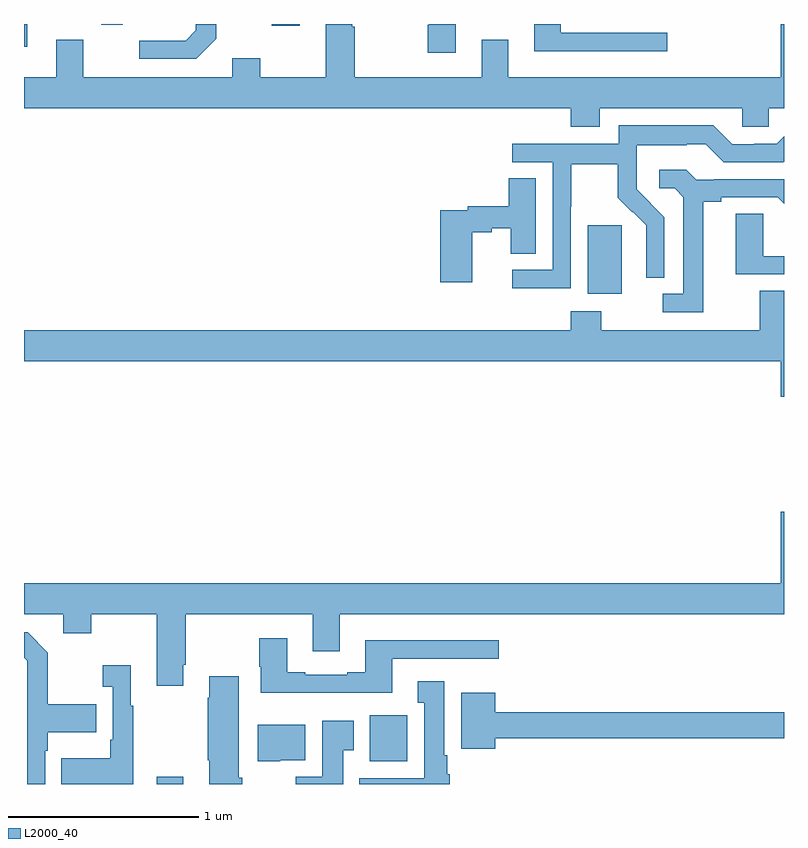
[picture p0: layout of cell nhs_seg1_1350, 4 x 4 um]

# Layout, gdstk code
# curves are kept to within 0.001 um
import gdstk
lib = gdstk.Library(unit=1e-6, precision=1e-09)
def R(c, l, rs):  # rectangles x0, y0, x1, y1
    for r in rs: c.add(gdstk.rectangle(r[:2], r[2:], *l))
def P(c, l, *ps):  # polygons
    for p in ps: c.add(gdstk.Polygon(p, *l))
L2000_40 = (2000, 40)

nhs_seg1_1350 = lib.new_cell('nhs_seg1_1350')
R(nhs_seg1_1350, L2000_40, [(185.699,524.199,185.839,524.236), (186.821,524.318,187.018,524.56), (187.967,526.778,188.146,527.139), (185,528.078,185.017,528.199), (186.303,528.189,186.452,528.199), (185.407,528.196,185.519,528.199)])
P(nhs_seg1_1350, L2000_40, [(187.273,528.199),(187.133,528.199),(187.133,528.195),(187.126,528.195),(187.126,528.048),(187.273,528.048)],
  [(186.013,528.121),(186.013,528.199),(185.904,528.199),(185.904,528.165),(185.85,528.111),(185.607,528.111),(185.607,528.015),(185.907,528.015)],
  [(188.386,528.153),(187.825,528.153),(187.825,528.199),(187.685,528.199),(187.685,528.056),(188.386,528.056)],
  [(188.029,527.756),(188.781,527.756),(188.781,527.658),(188.919,527.658),(188.919,527.756),(189,527.756),(189,528.199),(188.984,528.199),(188.984,527.92),(187.549,527.92),(187.549,528.115),(187.409,528.115),(187.409,527.92),(186.74,527.92),(186.74,528.185),(186.727,528.185),(186.727,528.199),(186.587,528.199),(186.587,527.92),(186.243,527.92),(186.243,528.019),(186.095,528.019),(186.095,527.92),(185.311,527.92),(185.311,528.115),(185.171,528.115),(185.171,527.92),(185,527.92),(185,527.756),(187.877,527.756),(187.877,527.657),(188.029,527.657)],
  [(187.878,527.236),(187.881,527.236),(187.881,527.46),(188.125,527.46),(188.125,527.285),(188.202,527.208),(188.205,527.211),(188.276,527.141),(188.276,527.018),(188.274,527.018),(188.274,526.864),(188.37,526.864),(188.37,527.182),(188.224,527.33),(188.224,527.427),(188.226,527.427),(188.226,527.561),(188.489,527.561),(188.489,527.565),(188.589,527.565),(188.682,527.472),(188.997,527.472),(189,527.475),(189,527.607),(188.961,527.568),(188.843,527.568),(188.843,527.565),(188.727,527.565),(188.627,527.665),(188.13,527.665),(188.13,527.568),(187.569,527.568),(187.569,527.472),(187.782,527.472),(187.782,526.905),(187.569,526.905),(187.569,526.807),(187.878,526.807)],
  [(188.575,527.264),(188.671,527.264),(188.671,527.286),(188.966,527.286),(189,527.252),(189,527.382),(188.632,527.382),(188.632,527.379),(188.538,527.379),(188.486,527.431),(188.343,527.431),(188.343,527.334),(188.424,527.334),(188.471,527.287),(188.471,526.779),(188.361,526.779),(188.361,526.683),(188.575,526.683)],
  [(187.36,527.104),(187.461,527.104),(187.461,527.123),(187.562,527.123),(187.562,526.99),(187.693,526.99),(187.693,527.387),(187.55,527.387),(187.55,527.24),(187.336,527.24),(187.336,527.22),(187.19,527.22),(187.19,526.839),(187.36,526.839)],
  [(189,526.977),(188.892,526.977),(188.892,527.201),(188.747,527.201),(188.747,526.881),(189,526.881)],
  [(189,526.796),(188.873,526.796),(188.873,526.588),(188.037,526.588),(188.037,526.687),(187.877,526.687),(187.877,526.588),(185,526.588),(185,526.424),(188.984,526.424),(188.984,526.236),(189,526.236)],
  [(185.839,524.827),(185.852,524.827),(185.852,525.092),(186.521,525.092),(186.521,524.898),(186.661,524.898),(186.661,525.092),(189,525.092),(189,525.631),(188.984,525.631),(188.984,525.256),(185,525.256),(185,525.092),(185.207,525.092),(185.207,524.993),(185.355,524.993),(185.355,525.092),(185.699,525.092),(185.699,524.715),(185.839,524.715)],
  [(185.112,524.375),(185.125,524.375),(185.125,524.471),(185.381,524.471),(185.381,524.619),(185.125,524.619),(185.125,524.891),(185.019,524.997),(185,524.997),(185,524.863),(185.016,524.847),(185.016,524.199),(185.112,524.199)],
  [(186.937,524.859),(187.498,524.859),(187.498,524.956),(186.797,524.956),(186.797,524.788),(186.701,524.788),(186.701,524.775),(186.481,524.775),(186.481,524.788),(186.385,524.788),(186.385,524.965),(186.238,524.965),(186.238,524.817),(186.245,524.817),(186.245,524.678),(186.937,524.678)],
  [(185.575,524.611),(185.563,524.611),(185.563,524.824),(185.415,524.824),(185.415,524.711),(185.466,524.711),(185.466,524.431),(185.454,524.431),(185.454,524.335),(185.197,524.335),(185.197,524.199),(185.575,524.199)],
  [(186.148,524.232),(186.13,524.232),(186.13,524.767),(185.975,524.767),(185.975,524.654),(185.968,524.654),(185.968,524.323),(185.975,524.323),(185.975,524.199),(186.148,524.199)],
  [(187.24,524.25),(187.228,524.25),(187.228,524.35),(187.213,524.35),(187.213,524.74),(187.073,524.74),(187.073,524.627),(187.106,524.627),(187.106,524.23),(186.764,524.23),(186.764,524.199),(187.24,524.199)],
  [(187.48,524.44),(189,524.44),(189,524.576),(187.48,524.576),(187.48,524.68),(187.301,524.68),(187.301,524.384),(187.48,524.384)],
  [(186.679,524.377),(186.736,524.377),(186.736,524.533),(186.569,524.533),(186.569,524.236),(186.43,524.236),(186.43,524.199),(186.679,524.199)],
  [(186.348,524.324),(186.481,524.324),(186.481,524.512),(186.23,524.512),(186.23,524.318),(186.348,524.318)])

lib.write_gds('nhs_seg1_1350.gds')
